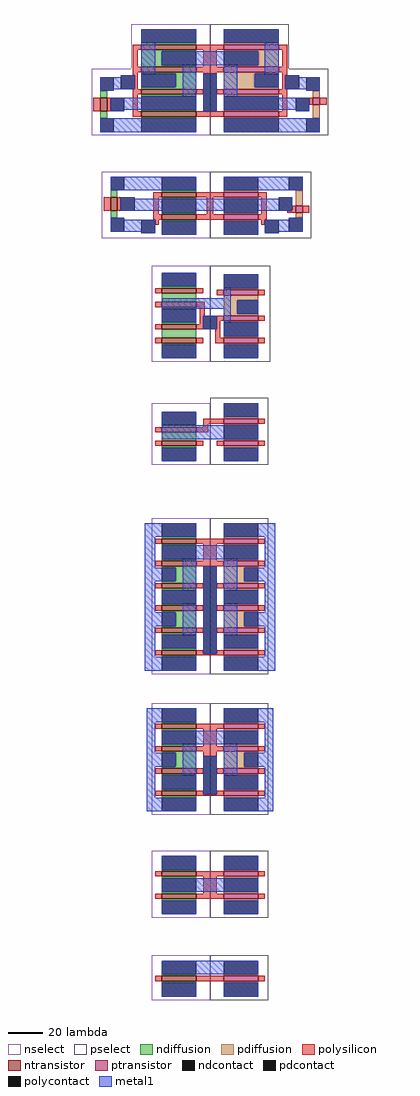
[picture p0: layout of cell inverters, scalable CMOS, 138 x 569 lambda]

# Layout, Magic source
magic
tech scmos
use l_inv_staticizer l_inv_staticizer_0
transform 1 0 22 0 1 455
box -69 60 69 125
use m_inv_staticizer m_inv_staticizer_0
transform 1 0 22 0 1 389
box -63 66 59 105
use m_inv_rhi m_inv_rhi_0
transform 1 0 22 0 1 378
box -35 5 36 61
use s_inv_rhi s_inv_rhi_0
transform 1 0 22 0 1 341
box -35 -18 36 21
use h_inv h_inv_0
transform 1 0 22 0 1 229
box -39 -28 39 63
use l_inv l_inv_0
transform 1 0 22 0 1 -348
box -38 467 38 532
use m_inv m_inv_0
transform 1 0 22 0 1 -473
box -35 532 35 571
use s_inv s_inv_0
transform 1 0 22 0 1 -413
box -34 424 34 450
<< end >>

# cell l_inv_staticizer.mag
magic
tech scmos
<< nselect >>
rect -46 99 0 125
rect -69 60 0 99
<< pselect >>
rect 0 99 46 125
rect 0 60 69 99
<< ndiffusion >>
rect -40 113 -8 114
rect -40 109 -8 110
rect -40 101 -28 109
rect -40 100 -8 101
rect -40 96 -8 97
rect -20 88 -8 96
rect -40 87 -8 88
rect -64 82 -60 86
rect -40 83 -8 84
rect -40 74 -8 75
rect -64 70 -60 74
rect -40 70 -8 71
<< pdiffusion >>
rect 8 113 40 114
rect 8 109 40 110
rect 28 101 40 109
rect 8 100 40 101
rect 8 96 40 97
rect 8 88 26 96
rect 8 87 40 88
rect 8 83 40 84
rect 8 74 40 75
rect 60 82 64 86
rect 8 70 40 71
rect 60 70 64 78
<< ntransistor >>
rect -40 110 -8 113
rect -40 97 -8 100
rect -40 84 -8 87
rect -64 74 -60 82
rect -40 71 -8 74
<< ptransistor >>
rect 8 110 40 113
rect 8 97 40 100
rect 8 84 40 87
rect 60 78 64 82
rect 8 71 40 74
<< polysilicon >>
rect -45 110 -40 113
rect -8 110 8 113
rect 40 110 45 113
rect -45 100 -42 110
rect -4 100 4 110
rect 42 100 45 110
rect -45 97 -40 100
rect -8 97 8 100
rect 40 97 45 100
rect -45 95 -42 97
rect -44 87 -42 95
rect -4 96 4 97
rect -45 84 -40 87
rect -8 84 -4 87
rect -68 74 -64 82
rect -60 74 -58 82
rect -45 74 -42 84
rect 42 95 45 97
rect 42 87 44 95
rect 4 84 8 87
rect 40 84 45 87
rect 42 74 45 84
rect 58 78 60 82
rect 64 78 68 82
rect -45 71 -40 74
rect -8 71 8 74
rect 40 71 45 74
<< ndcontact >>
rect -40 114 -8 122
rect -28 101 -8 109
rect -64 86 -56 94
rect -40 88 -20 96
rect -40 75 -8 83
rect -64 62 -56 70
rect -40 62 -8 70
<< pdcontact >>
rect 8 114 40 122
rect 8 101 28 109
rect 26 88 40 96
rect 56 86 64 94
rect 8 75 40 83
rect 8 62 40 70
rect 56 62 64 70
<< polycontact >>
rect -52 87 -44 95
rect -58 74 -50 82
rect -4 74 4 96
rect 44 87 52 95
rect 50 74 58 82
<< metal1 >>
rect -40 114 -8 122
rect 8 114 40 122
rect -40 96 -32 114
rect -28 101 28 109
rect -52 94 -44 95
rect -64 87 -44 94
rect -40 88 -20 96
rect -64 86 -56 87
rect -16 83 -8 101
rect -40 82 -8 83
rect -58 75 -8 82
rect -58 74 -50 75
rect -4 74 4 96
rect 8 83 16 101
rect 32 96 40 114
rect 26 88 40 96
rect 44 94 52 95
rect 44 87 64 94
rect 56 86 64 87
rect 8 82 40 83
rect 8 75 58 82
rect 50 74 58 75
rect -64 62 -8 70
rect 8 62 64 70
<< labels >>
rlabel metal1 -4 74 4 96 1 _x
rlabel metal1 -48 91 -48 91 1 _x
rlabel metal1 48 91 48 91 1 _x
rlabel space -69 60 -28 125 7 ^n
rlabel space 28 60 69 125 3 ^p
rlabel metal1 -40 88 -32 122 1 GND!|pin|s|0
rlabel metal1 -40 88 -20 96 1 GND!|pin|s|0
rlabel metal1 26 88 40 96 1 Vdd!|pin|s|1
rlabel metal1 32 88 40 122 1 Vdd!|pin|s|1
rlabel metal1 -58 75 -8 82 1 x|pin|s|2
rlabel metal1 -28 101 28 109 1 x|pin|s|2
rlabel metal1 8 75 58 82 1 x|pin|s|2
rlabel metal1 8 75 16 109 1 x|pin|s|2
rlabel metal1 -16 75 -8 109 1 x|pin|s|2
rlabel metal1 -40 114 -8 122 1 GND!|pin|s|0
rlabel metal1 8 114 40 122 1 Vdd!|pin|s|1
rlabel metal1 -64 62 -8 70 1 GND!|pin|s|1
rlabel metal1 8 62 64 70 1 Vdd!|pin|s|0
<< end >>

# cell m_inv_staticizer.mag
magic
tech scmos
<< nselect >>
rect -63 66 0 105
<< pselect >>
rect 0 66 59 105
<< ndiffusion >>
rect -58 90 -54 94
rect -28 93 -8 94
rect -58 78 -54 82
rect -28 89 -8 90
rect -28 80 -8 81
rect -28 76 -8 77
<< pdiffusion >>
rect 8 93 28 94
rect 8 89 28 90
rect 8 80 28 81
rect 50 85 54 94
rect 50 78 54 81
rect 8 76 28 77
<< ntransistor >>
rect -28 90 -8 93
rect -58 82 -54 90
rect -28 77 -8 80
<< ptransistor >>
rect 8 90 28 93
rect 50 81 54 85
rect 8 77 28 80
<< polysilicon >>
rect -33 90 -28 93
rect -8 90 8 93
rect 28 90 33 93
rect -62 82 -58 90
rect -54 82 -52 90
rect -33 80 -30 90
rect -2 80 2 90
rect 30 80 33 90
rect 48 82 50 85
rect 45 81 50 82
rect 54 81 58 85
rect -33 77 -28 80
rect -8 77 8 80
rect 28 77 33 80
rect -32 74 -30 77
rect 30 74 32 77
<< ndcontact >>
rect -58 94 -50 102
rect -28 94 -8 102
rect -28 81 -8 89
rect -58 70 -50 78
rect -28 68 -8 76
<< pdcontact >>
rect 8 94 28 102
rect 46 94 54 102
rect 8 81 28 89
rect 8 68 28 76
rect 46 70 54 78
<< polycontact >>
rect -52 82 -44 90
rect 40 82 48 90
rect -40 69 -32 77
rect 32 69 40 77
<< metal1 >>
rect -58 94 -8 102
rect 8 94 54 102
rect -52 89 -44 90
rect 40 89 48 90
rect -52 82 48 89
rect -28 81 -8 82
rect 8 81 28 82
rect -58 77 -50 78
rect 46 77 54 78
rect -58 70 -32 77
rect -40 69 -32 70
rect -28 68 -8 76
rect 8 68 28 76
rect 32 70 54 77
rect 32 69 40 70
<< labels >>
rlabel metal1 36 73 36 73 5 _x
rlabel metal1 -36 73 -36 73 5 _x
rlabel nselect -63 66 -28 105 7 ^n
rlabel pselect 28 66 59 105 3 ^p
rlabel metal1 -52 82 48 89 1 x
rlabel polysilicon -2 77 2 93 1 _x|pin|w|3|poly
rlabel metal1 -58 94 -8 102 1 GND!|pin|s|0
rlabel metal1 -28 68 -8 76 1 GND!|pin|s|1
rlabel metal1 8 68 28 76 1 Vdd!|pin|s|0
rlabel metal1 8 94 54 102 1 Vdd!|pin|s|1
<< end >>

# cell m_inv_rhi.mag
magic
tech scmos
<< nselect >>
rect -34 5 0 61
<< pselect >>
rect 0 5 35 61
<< ndiffusion >>
rect -28 48 -8 49
rect -28 40 -8 45
rect -28 36 -8 37
rect -28 27 -8 28
rect -28 19 -8 24
rect -28 15 -8 16
<< pdiffusion >>
rect 8 47 28 48
rect 8 41 28 44
rect 8 33 16 41
rect 8 32 28 33
rect 8 28 28 29
rect 8 19 28 20
rect 8 15 28 16
<< ntransistor >>
rect -28 45 -8 48
rect -28 37 -8 40
rect -28 24 -8 27
rect -28 16 -8 19
<< ptransistor >>
rect 8 44 28 47
rect 8 29 28 32
rect 8 16 28 19
<< polysilicon >>
rect -32 45 -28 48
rect -8 45 -4 48
rect 4 44 8 47
rect 28 44 32 47
rect -32 37 -28 40
rect -8 37 -3 40
rect -6 32 -3 37
rect -6 27 -4 32
rect -32 24 -28 27
rect -8 24 -4 27
rect 4 29 8 32
rect 28 29 32 32
rect 4 24 6 29
rect 3 19 6 24
rect -32 16 -28 19
rect -8 16 -4 19
rect 3 16 8 19
rect 28 16 32 19
<< ndcontact >>
rect -28 49 -8 57
rect -28 28 -8 36
rect -28 7 -8 15
<< pdcontact >>
rect 8 48 28 56
rect 16 33 28 41
rect 8 20 28 28
rect 8 7 28 15
<< polycontact >>
rect -4 24 4 32
<< metal1 >>
rect -28 49 -8 57
rect 8 48 28 56
rect 8 42 12 48
rect -28 36 12 42
rect -28 28 -8 36
rect -4 24 4 32
rect 8 28 12 36
rect 16 33 28 41
rect 8 20 28 28
rect -28 7 -8 15
rect 8 7 28 15
<< labels >>
rlabel metal1 -4 24 4 32 1 a
rlabel space -35 5 -28 61 7 ^n
rlabel space 28 6 36 36 3 ^p
rlabel metal1 -28 36 12 42 1 x|pin|s|2
rlabel metal1 -28 28 -8 36 1 x|pin|s|2
rlabel metal1 8 48 28 56 1 x|pin|s|2
rlabel metal1 8 20 28 28 1 x|pin|s|2
rlabel metal1 8 20 12 56 1 x|pin|s|2
rlabel polysilicon -8 45 -4 48 1 _SReset!|pin|w|3|poly
rlabel polysilicon -32 45 -28 48 1 _SReset!|pin|w|3|poly
rlabel polysilicon -32 16 -28 19 1 _SReset!|pin|w|4|poly
rlabel polysilicon -8 16 -4 19 1 _SReset!|pin|w|4|poly
rlabel polysilicon 4 44 8 47 1 _PReset!|pin|w|5|poly
rlabel polysilicon 28 44 32 47 1 _PReset!|pin|w|5|poly
rlabel metal1 16 33 28 41 1 Vdd!|pin|s|1
rlabel metal1 -28 7 -8 15 1 GND!|pin|s|0
rlabel metal1 8 7 28 15 1 Vdd!|pin|s|0
rlabel metal1 -28 49 -8 57 1 GND!|pin|s|1
<< end >>

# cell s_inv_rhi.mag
magic
tech scmos
<< nselect >>
rect -34 -18 0 18
<< pselect >>
rect 0 -18 34 21
<< ndiffusion >>
rect -28 4 -8 5
rect -28 -4 -8 1
rect -28 -8 -8 -7
<< pdiffusion >>
rect 8 9 28 10
rect 8 5 28 6
rect 8 -4 28 -3
rect 8 -8 28 -7
<< ntransistor >>
rect -28 1 -8 4
rect -28 -7 -8 -4
<< ptransistor >>
rect 8 6 28 9
rect 8 -7 28 -4
<< polysilicon >>
rect -4 6 8 9
rect 28 6 32 9
rect -4 4 -1 6
rect -32 1 -28 4
rect -8 1 -1 4
rect -32 -7 -28 -4
rect -8 -7 -4 -4
rect 4 -7 8 -4
rect 28 -7 32 -4
<< ndcontact >>
rect -28 5 -8 13
rect -28 -16 -8 -8
<< pdcontact >>
rect 8 10 28 18
rect 8 -3 28 5
rect 8 -16 28 -8
<< metal1 >>
rect -28 5 -8 13
rect 8 10 28 18
rect -28 -3 28 5
rect -28 -16 -8 -8
rect 8 -16 28 -8
<< labels >>
rlabel space -35 -18 -28 21 7 ^n
rlabel space 28 -18 36 21 3 ^p
rlabel metal1 -28 -3 28 5 1 x|pin|s|2
rlabel metal1 -28 5 -8 13 1 x|pin|s|2
rlabel polysilicon -32 -7 -28 -4 1 _SReset!|pin|w|3|poly
rlabel polysilicon -8 -7 -4 -4 1 _SReset!|pin|w|3|poly
rlabel polysilicon 4 -7 8 -4 1 _PReset!|pin|w|4|poly
rlabel polysilicon 28 -7 32 -4 1 _PReset!|pin|w|4|poly
rlabel polysilicon 28 6 32 9 1 a|pin|w|5|poly
rlabel polysilicon -4 6 0 9 1 a|pin|w|5|poly
rlabel polysilicon -32 1 -28 4 1 a|pin|w|5|poly
rlabel metal1 -28 -16 -8 -8 1 GND!|pin|s|0
rlabel metal1 8 10 28 18 1 Vdd!|pin|s|1
rlabel metal1 8 -16 28 -8 1 Vdd!|pin|s|0
<< end >>

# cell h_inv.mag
magic
tech scmos
<< nselect >>
rect -34 -28 0 63
<< pselect >>
rect 0 -28 34 63
<< ndiffusion >>
rect -28 51 -8 52
rect -28 47 -8 48
rect -28 38 -8 39
rect -28 34 -8 35
rect -20 26 -8 34
rect -28 25 -8 26
rect -28 21 -8 22
rect -28 12 -8 13
rect -28 8 -8 9
rect -20 0 -8 8
rect -28 -1 -8 0
rect -28 -5 -8 -4
rect -28 -14 -8 -13
rect -28 -18 -8 -17
<< pdiffusion >>
rect 8 51 28 52
rect 8 47 28 48
rect 8 38 28 39
rect 8 34 28 35
rect 8 26 20 34
rect 8 25 28 26
rect 8 21 28 22
rect 8 12 28 13
rect 8 8 28 9
rect 8 0 20 8
rect 8 -1 28 0
rect 8 -5 28 -4
rect 8 -14 28 -13
rect 8 -18 28 -17
<< ntransistor >>
rect -28 48 -8 51
rect -28 35 -8 38
rect -28 22 -8 25
rect -28 9 -8 12
rect -28 -4 -8 -1
rect -28 -17 -8 -14
<< ptransistor >>
rect 8 48 28 51
rect 8 35 28 38
rect 8 22 28 25
rect 8 9 28 12
rect 8 -4 28 -1
rect 8 -17 28 -14
<< polysilicon >>
rect -32 48 -28 51
rect -8 48 8 51
rect 28 48 32 51
rect -4 38 4 48
rect -32 35 -28 38
rect -8 35 8 38
rect 28 35 32 38
rect -32 22 -28 25
rect -8 22 -4 25
rect -32 9 -28 12
rect -8 9 -4 12
rect -32 -4 -28 -1
rect -8 -4 -4 -1
rect -32 -17 -28 -14
rect -8 -16 -4 -14
rect 4 22 8 25
rect 28 22 32 25
rect 4 9 8 12
rect 28 9 32 12
rect 4 -4 8 -1
rect 28 -4 32 -1
rect 4 -16 8 -14
rect -8 -17 8 -16
rect 28 -17 32 -14
<< ndcontact >>
rect -28 52 -8 60
rect -28 39 -8 47
rect -28 26 -20 34
rect -28 13 -8 21
rect -28 0 -20 8
rect -28 -13 -8 -5
rect -28 -26 -8 -18
<< pdcontact >>
rect 8 52 28 60
rect 8 39 28 47
rect 20 26 28 34
rect 8 13 28 21
rect 20 0 28 8
rect 8 -13 28 -5
rect 8 -26 28 -18
<< polycontact >>
rect -4 -16 4 35
<< metal1 >>
rect -38 52 -8 60
rect 8 52 38 60
rect -38 34 -32 52
rect -28 39 28 47
rect -38 26 -20 34
rect -38 8 -32 26
rect -16 21 -8 39
rect -28 13 -8 21
rect -38 0 -20 8
rect -38 -18 -32 0
rect -16 -5 -8 13
rect -28 -13 -8 -5
rect -4 -16 4 35
rect 8 21 16 39
rect 32 34 38 52
rect 20 26 38 34
rect 8 13 28 21
rect 8 -5 16 13
rect 32 8 38 26
rect 20 0 38 8
rect 8 -13 28 -5
rect 32 -18 38 0
rect -38 -26 -8 -18
rect 8 -26 38 -18
<< labels >>
rlabel metal1 -4 -16 4 35 1 a
rlabel space -39 -28 -28 63 7 ^n
rlabel space 28 -28 39 63 3 ^p
rlabel metal1 -38 -26 -8 -18 1 GND!|pin|s|0
rlabel metal1 -38 52 -8 60 1 GND!|pin|s|0
rlabel metal1 -38 -26 -32 60 3 GND!|pin|s|0
rlabel metal1 8 -26 38 -18 1 Vdd!|pin|s|1
rlabel metal1 32 -26 38 60 7 Vdd!|pin|s|1
rlabel metal1 8 52 38 60 1 Vdd!|pin|s|1
rlabel metal1 -28 39 28 47 1 x|pin|s|2
rlabel metal1 -28 -13 -8 -5 1 x|pin|s|2
rlabel metal1 -28 13 -8 21 1 x|pin|s|2
rlabel metal1 8 13 28 21 1 x|pin|s|2
rlabel metal1 8 -13 28 -5 1 x|pin|s|2
rlabel metal1 -16 -13 -8 47 1 x|pin|s|2
rlabel metal1 8 -13 16 47 1 x|pin|s|2
<< end >>

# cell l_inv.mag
magic
tech scmos
<< nselect >>
rect -34 467 0 532
<< pselect >>
rect 0 467 34 532
<< ndiffusion >>
rect -28 520 -8 521
rect -28 516 -8 517
rect -28 507 -8 508
rect -28 503 -8 504
rect -20 495 -8 503
rect -28 494 -8 495
rect -28 490 -8 491
rect -28 481 -8 482
rect -28 477 -8 478
<< pdiffusion >>
rect 8 520 28 521
rect 8 516 28 517
rect 8 507 28 508
rect 8 503 28 504
rect 8 495 20 503
rect 8 494 28 495
rect 8 490 28 491
rect 8 481 28 482
rect 8 477 28 478
<< ntransistor >>
rect -28 517 -8 520
rect -28 504 -8 507
rect -28 491 -8 494
rect -28 478 -8 481
<< ptransistor >>
rect 8 517 28 520
rect 8 504 28 507
rect 8 491 28 494
rect 8 478 28 481
<< polysilicon >>
rect -32 517 -28 520
rect -8 517 8 520
rect 28 517 32 520
rect -4 507 4 517
rect -32 504 -28 507
rect -8 504 8 507
rect 28 504 32 507
rect -4 501 4 504
rect -32 491 -28 494
rect -8 491 -4 494
rect -32 478 -28 481
rect -8 479 -4 481
rect 4 491 8 494
rect 28 491 32 494
rect 4 479 8 481
rect -8 478 8 479
rect 28 478 32 481
<< ndcontact >>
rect -28 521 -8 529
rect -28 508 -8 516
rect -28 495 -20 503
rect -28 482 -8 490
rect -28 469 -8 477
<< pdcontact >>
rect 8 521 28 529
rect 8 508 28 516
rect 20 495 28 503
rect 8 482 28 490
rect 8 469 28 477
<< polycontact >>
rect -4 479 4 501
<< metal1 >>
rect -37 521 -8 529
rect 8 521 37 529
rect -37 503 -32 521
rect -28 508 28 516
rect -37 495 -20 503
rect -37 477 -32 495
rect -16 490 -8 508
rect -28 482 -8 490
rect -4 479 4 501
rect 8 490 16 508
rect 32 503 37 521
rect 20 495 37 503
rect 8 482 28 490
rect 32 477 37 495
rect -37 469 -8 477
rect 8 469 37 477
<< labels >>
rlabel metal1 -4 479 4 501 1 a
rlabel space -38 467 -28 532 7 ^n
rlabel space 28 467 38 532 3 ^p
rlabel metal1 -37 469 -8 477 1 GND!|pin|s|0
rlabel metal1 -37 521 -8 529 1 GND!|pin|s|0
rlabel metal1 -37 469 -32 529 3 GND!|pin|s|0
rlabel metal1 8 521 37 529 1 Vdd!|pin|s|1
rlabel metal1 8 469 37 477 1 Vdd!|pin|s|1
rlabel metal1 32 469 37 529 7 Vdd!|pin|s|1
rlabel metal1 -28 508 28 516 1 x|pin|s|2
rlabel metal1 -28 482 -8 490 1 x|pin|s|2
rlabel metal1 8 482 28 490 1 x|pin|s|2
rlabel metal1 8 482 16 516 1 x|pin|s|2
rlabel metal1 -16 482 -8 516 1 x|pin|s|2
<< end >>

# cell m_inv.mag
magic
tech scmos
<< nselect >>
rect -34 532 0 571
<< pselect >>
rect 0 532 34 571
<< ndiffusion >>
rect -28 559 -8 560
rect -28 555 -8 556
rect -28 546 -8 547
rect -28 542 -8 543
<< pdiffusion >>
rect 8 559 28 560
rect 8 555 28 556
rect 8 546 28 547
rect 8 542 28 543
<< ntransistor >>
rect -28 556 -8 559
rect -28 543 -8 546
<< ptransistor >>
rect 8 556 28 559
rect 8 543 28 546
<< polysilicon >>
rect -32 556 -28 559
rect -8 556 8 559
rect 28 556 32 559
rect -4 546 4 556
rect -32 543 -28 546
rect -8 543 8 546
rect 28 543 32 546
<< ndcontact >>
rect -28 560 -8 568
rect -28 547 -8 555
rect -28 534 -8 542
<< pdcontact >>
rect 8 560 28 568
rect 8 547 28 555
rect 8 534 28 542
<< metal1 >>
rect -28 560 -8 568
rect 8 560 28 568
rect -28 547 28 555
rect -28 534 -8 542
rect 8 534 28 542
<< labels >>
rlabel metal1 -28 547 28 555 1 x
rlabel space -35 532 -28 571 7 ^n
rlabel space 28 532 35 571 3 ^p
rlabel metal1 -28 534 -8 542 1 GND!|pin|s|0
rlabel polysilicon -4 543 4 559 1 a|pin|w|3|poly
rlabel metal1 8 534 28 542 1 Vdd!|pin|s|1
rlabel metal1 -28 560 -8 568 1 GND!|pin|s|1
rlabel metal1 8 560 28 568 1 Vdd!|pin|s|0
<< end >>

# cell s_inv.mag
magic
tech scmos
<< nselect >>
rect -34 424 0 450
<< pselect >>
rect 0 424 34 450
<< ndiffusion >>
rect -28 438 -8 439
rect -28 434 -8 435
<< pdiffusion >>
rect 8 438 28 439
rect 8 434 28 435
<< ntransistor >>
rect -28 435 -8 438
<< ptransistor >>
rect 8 435 28 438
<< polysilicon >>
rect -32 435 -28 438
rect -8 435 8 438
rect 28 435 32 438
<< ndcontact >>
rect -28 439 -8 447
rect -28 426 -8 434
<< pdcontact >>
rect 8 439 28 447
rect 8 426 28 434
<< metal1 >>
rect -28 439 28 447
rect -28 426 -8 434
rect 8 426 28 434
<< labels >>
rlabel metal1 -28 439 28 447 1 x
rlabel nselect -34 424 -28 450 7 ^n
rlabel pselect 28 424 34 450 3 ^p
rlabel metal1 -28 426 -8 434 1 GND!|pin|s|0
rlabel metal1 8 426 28 434 1 Vdd!|pin|s|1
rlabel polysilicon -32 435 -28 438 1 a|pin|w|2|poly
rlabel polysilicon -2 435 2 438 1 a|pin|w|2|poly
rlabel polysilicon 28 435 32 438 1 a|pin|w|2|poly
<< end >>
